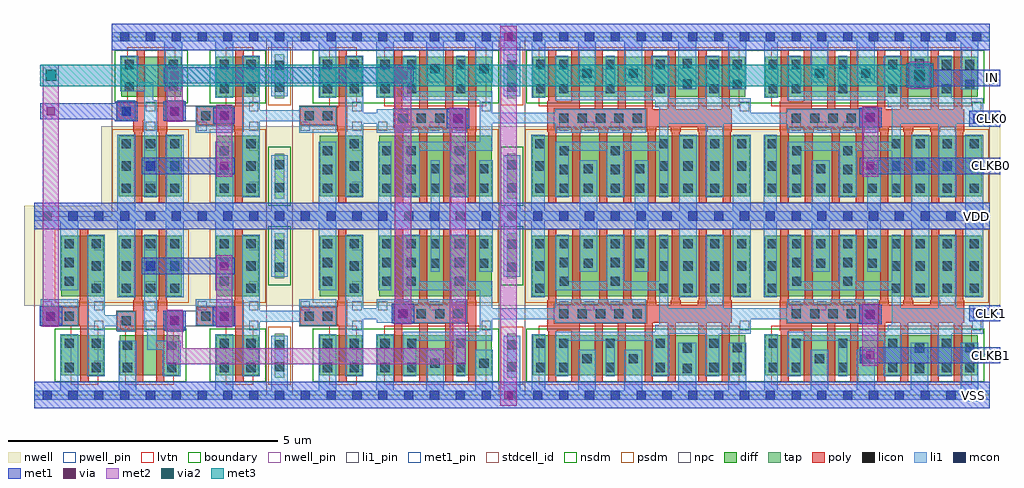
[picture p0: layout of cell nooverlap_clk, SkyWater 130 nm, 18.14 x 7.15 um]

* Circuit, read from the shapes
.subckt nooverlap_clk CLK0 CLK1 CLKB0 CLKB1 IN VDD VSS
XM1 sky130_fd_sc_hs__nand2_1_5/B IN VSS VSS sky130_fd_pr__nfet_01v8_lvt w=0.74 l=0.15
XM2 n1 sky130_fd_sc_hs__nand2_1_5/B VSS VSS sky130_fd_pr__nfet_01v8_lvt w=0.74 l=0.15
XM3 n2 IN sky130_fd_sc_hs__inv_1_0/A VSS sky130_fd_pr__nfet_01v8_lvt w=0.74 l=0.15
XM4 sky130_fd_sc_hs__inv_1_2/A sky130_fd_sc_hs__inv_4_8/A n1 VSS sky130_fd_pr__nfet_01v8_lvt w=0.74 l=0.15
XM5 VSS sky130_fd_sc_hs__inv_4_11/A n2 VSS sky130_fd_pr__nfet_01v8_lvt w=0.74 l=0.15
XM6 sky130_fd_sc_hs__inv_1_10/A sky130_fd_sc_hs__inv_1_2/A VSS VSS sky130_fd_pr__nfet_01v8_lvt w=0.74 l=0.15
XM7 sky130_fd_sc_hs__inv_1_7/A sky130_fd_sc_hs__inv_1_0/A VSS VSS sky130_fd_pr__nfet_01v8_lvt w=0.74 l=0.15
XM8 sky130_fd_sc_hs__inv_4_11/A sky130_fd_sc_hs__inv_1_10/A VSS VSS sky130_fd_pr__nfet_01v8_lvt w=0.74 l=0.15
XM9 sky130_fd_sc_hs__inv_4_8/A sky130_fd_sc_hs__inv_1_7/A VSS VSS sky130_fd_pr__nfet_01v8_lvt w=0.74 l=0.15
XM10 sky130_fd_sc_hs__inv_8_12/A sky130_fd_sc_hs__inv_4_11/A VSS VSS sky130_fd_pr__nfet_01v8_lvt w=0.74 l=0.15 m=4
XM11 sky130_fd_sc_hs__inv_8_9/A sky130_fd_sc_hs__inv_4_8/A VSS VSS sky130_fd_pr__nfet_01v8_lvt w=0.74 l=0.15 m=4
XM12 CLKB1 sky130_fd_sc_hs__inv_8_12/A VSS VSS sky130_fd_pr__nfet_01v8_lvt w=0.74 l=0.15 m=8
XM13 CLKB0 sky130_fd_sc_hs__inv_8_9/A VSS VSS sky130_fd_pr__nfet_01v8_lvt w=0.74 l=0.15 m=8
XM14 CLK1 CLKB1 VSS VSS sky130_fd_pr__nfet_01v8_lvt w=0.74 l=0.15 m=8
XM15 CLK0 CLKB0 VSS VSS sky130_fd_pr__nfet_01v8_lvt w=0.74 l=0.15 m=8
XM16 sky130_fd_sc_hs__nand2_1_5/B IN VDD VDD sky130_fd_pr__pfet_01v8 w=1.12 l=0.15
XM17 sky130_fd_sc_hs__inv_1_2/A sky130_fd_sc_hs__nand2_1_5/B VDD VDD sky130_fd_pr__pfet_01v8 w=1.12 l=0.15
XM18 sky130_fd_sc_hs__inv_1_0/A IN VDD VDD sky130_fd_pr__pfet_01v8 w=1.12 l=0.15
XM19 VDD sky130_fd_sc_hs__inv_4_8/A sky130_fd_sc_hs__inv_1_2/A VDD sky130_fd_pr__pfet_01v8 w=1.12 l=0.15
XM20 VDD sky130_fd_sc_hs__inv_4_11/A sky130_fd_sc_hs__inv_1_0/A VDD sky130_fd_pr__pfet_01v8 w=1.12 l=0.15
XM21 sky130_fd_sc_hs__inv_1_10/A sky130_fd_sc_hs__inv_1_2/A VDD VDD sky130_fd_pr__pfet_01v8 w=1.12 l=0.15
XM22 sky130_fd_sc_hs__inv_1_7/A sky130_fd_sc_hs__inv_1_0/A VDD VDD sky130_fd_pr__pfet_01v8 w=1.12 l=0.15
XM23 sky130_fd_sc_hs__inv_4_11/A sky130_fd_sc_hs__inv_1_10/A VDD VDD sky130_fd_pr__pfet_01v8 w=1.12 l=0.15
XM24 sky130_fd_sc_hs__inv_4_8/A sky130_fd_sc_hs__inv_1_7/A VDD VDD sky130_fd_pr__pfet_01v8 w=1.12 l=0.15
XM25 sky130_fd_sc_hs__inv_8_12/A sky130_fd_sc_hs__inv_4_11/A VDD VDD sky130_fd_pr__pfet_01v8 w=1.12 l=0.15 m=4
XM26 sky130_fd_sc_hs__inv_8_9/A sky130_fd_sc_hs__inv_4_8/A VDD VDD sky130_fd_pr__pfet_01v8 w=1.12 l=0.15 m=4
XM27 CLKB1 sky130_fd_sc_hs__inv_8_12/A VDD VDD sky130_fd_pr__pfet_01v8 w=1.12 l=0.15 m=8
XM28 CLKB0 sky130_fd_sc_hs__inv_8_9/A VDD VDD sky130_fd_pr__pfet_01v8 w=1.12 l=0.15 m=8
XM29 CLK1 CLKB1 VDD VDD sky130_fd_pr__pfet_01v8 w=1.12 l=0.15 m=8
XM30 CLK0 CLKB0 VDD VDD sky130_fd_pr__pfet_01v8 w=1.12 l=0.15 m=8
.ends

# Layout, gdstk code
from math import pi, radians
import gdstk
lib = gdstk.Library(unit=1e-6, precision=1e-09)
def R(c, l, rs):  # rectangles x0, y0, x1, y1
    for r in rs: c.add(gdstk.rectangle(r[:2], r[2:], *l))
def A(c, l, x, y, w, h, nx, ny, dx, dy):  # array of equal rectangles
    R(c, l, [(x+i*dx, y+j*dy, x+i*dx+w, y+j*dy+h) for i in range(nx) for j in range(ny)])
nwell_pin = (64, 16)
nwell = (64, 20)
diff = (65, 20)
tap = (65, 44)
poly = (66, 20)
licon = (66, 44)
li1_pin = (67, 16)
li1 = (67, 20)
mcon = (67, 44)
met1_pin = (68, 16)
met1 = (68, 20)
via = (68, 44)
met2 = (69, 20)
via2 = (69, 44)
met3 = (70, 20)
stdcell_id = (81, 4)
nsdm = (93, 44)
psdm = (94, 20)
npc = (95, 20)
pwell_pin = (122, 16)
lvtn = (125, 44)
boundary = (235, 4)

sky130_fd_sc_hs__inv_1 = lib.new_cell('sky130_fd_sc_hs__inv_1')
R(sky130_fd_sc_hs__inv_1, nwell_pin, [(0,3.085,1.44,3.33)])
R(sky130_fd_sc_hs__inv_1, nwell, [(-0.19,1.66,1.63,3.52)])
R(sky130_fd_sc_hs__inv_1, diff, [(0.505,0.37,1.295,1.11), (0.505,1.84,1.295,2.96)])
R(sky130_fd_sc_hs__inv_1, poly, [(0.86,0.24,1.01,1.3), (0.145,1.3,1.015,1.63), (0.835,1.63,1.015,1.765), (0.85,1.765,1,3.09)])
A(sky130_fd_sc_hs__inv_1, licon, 1.065, 1.9, 0.17, 0.17, 1, 3, 0, 0.415)
A(sky130_fd_sc_hs__inv_1, licon, 0.565, 2.03, 0.17, 0.17, 1, 3, 0, 0.35)
R(sky130_fd_sc_hs__inv_1, licon, [(0.565,0.43,0.735,0.6), (1.065,0.43,1.235,0.6), (0.565,0.88,0.735,1.05), (1.065,0.88,1.235,1.05), (0.225,1.38,0.395,1.55), (0.565,1.38,0.735,1.55)])
A(sky130_fd_sc_hs__inv_1, li1_pin, 1.115, 0.47, 0.17, 0.17, 1, 7, 0, 0.37)
R(sky130_fd_sc_hs__inv_1, li1_pin, [(0.155,1.58,0.325,1.75)])
R(sky130_fd_sc_hs__inv_1, li1, [(0,-0.085,1.44,0.085), (0.485,0.085,0.815,1.13), (0.985,0.35,1.315,2.98), (0.125,1.3,0.815,1.78), (0.485,1.95,0.815,3.245), (0,3.245,1.44,3.415)])
A(sky130_fd_sc_hs__inv_1, mcon, 0.155, -0.085, 0.17, 0.17, 3, 2, 0.48, 3.33)
R(sky130_fd_sc_hs__inv_1, met1_pin, [(0,0,1.44,0.245), (0,3.085,1.44,3.33)])
R(sky130_fd_sc_hs__inv_1, met1, [(0,-0.245,1.44,0.245), (0,3.085,1.44,3.575)])
R(sky130_fd_sc_hs__inv_1, stdcell_id, [(0,0,1.44,3.33)])
R(sky130_fd_sc_hs__inv_1, nsdm, [(0.38,0.245,1.42,1.235)])
R(sky130_fd_sc_hs__inv_1, psdm, [(0.38,1.715,1.42,3.085)])
R(sky130_fd_sc_hs__inv_1, npc, [(0.125,1.28,0.835,1.65)])
R(sky130_fd_sc_hs__inv_1, pwell_pin, [(0,0,1.44,0.245)])
R(sky130_fd_sc_hs__inv_1, lvtn, [(0.68,0.19,1.19,1.29)])
R(sky130_fd_sc_hs__inv_1, boundary, [(0,0,1.44,3.33)])
sky130_fd_sc_hs__inv_1.add(gdstk.Label('VNB', (0.72,0.122), layer=64, texttype=59))
sky130_fd_sc_hs__inv_1.add(gdstk.Label('VPB', (0.72,3.207), layer=64, texttype=5))
sky130_fd_sc_hs__inv_1.add(gdstk.Label('VPWR', (0.72,3.207), layer=68, texttype=5))
sky130_fd_sc_hs__inv_1.add(gdstk.Label('VGND', (0.72,0.122), layer=68, texttype=5))
sky130_fd_sc_hs__inv_1.add(gdstk.Label('Y', (1.2,2.775), layer=67, texttype=5))
sky130_fd_sc_hs__inv_1.add(gdstk.Label('Y', (1.2,2.405), layer=67, texttype=5))
sky130_fd_sc_hs__inv_1.add(gdstk.Label('Y', (1.2,2.035), layer=67, texttype=5))
sky130_fd_sc_hs__inv_1.add(gdstk.Label('Y', (1.2,1.665), layer=67, texttype=5))
sky130_fd_sc_hs__inv_1.add(gdstk.Label('Y', (1.2,1.295), layer=67, texttype=5))
sky130_fd_sc_hs__inv_1.add(gdstk.Label('Y', (1.2,0.925), layer=67, texttype=5))
sky130_fd_sc_hs__inv_1.add(gdstk.Label('Y', (1.2,0.555), layer=67, texttype=5))
sky130_fd_sc_hs__inv_1.add(gdstk.Label('A', (0.24,1.665), layer=67, texttype=5))

sky130_fd_sc_hs__tapvpwr = lib.new_cell('sky130_fd_sc_hs__tapvpwrvgnd_1')
R(sky130_fd_sc_hs__tapvpwr, nwell, [(-0.19,1.66,0.67,3.52)])
R(sky130_fd_sc_hs__tapvpwr, tap, [(0.155,0.32,0.325,1.145), (0.155,2.17,0.325,3.01)])
R(sky130_fd_sc_hs__tapvpwr, licon, [(0.155,0.44,0.325,0.61), (0.155,0.855,0.325,1.025), (0.155,2.29,0.325,2.46), (0.155,2.72,0.325,2.89)])
R(sky130_fd_sc_hs__tapvpwr, li1, [(0,-0.085,0.48,0.085), (0.09,0.085,0.39,1.105), (0.09,2.205,0.39,3.245), (0,3.245,0.48,3.415)])
R(sky130_fd_sc_hs__tapvpwr, mcon, [(0.155,-0.085,0.325,0.085), (0.155,3.245,0.325,3.415)])
R(sky130_fd_sc_hs__tapvpwr, met1_pin, [(0,0,0.48,0.245), (0,3.085,0.48,3.33)])
R(sky130_fd_sc_hs__tapvpwr, met1, [(0,-0.245,0.48,0.245), (0,3.085,0.48,3.575)])
R(sky130_fd_sc_hs__tapvpwr, nsdm, [(0.03,2.045,0.45,3.135)])
R(sky130_fd_sc_hs__tapvpwr, psdm, [(0.03,0.195,0.45,1.27)])
R(sky130_fd_sc_hs__tapvpwr, boundary, [(0,0,0.48,3.33)])
sky130_fd_sc_hs__tapvpwr.add(gdstk.Label('VPWR', (0.24,3.207), layer=68, texttype=5))
sky130_fd_sc_hs__tapvpwr.add(gdstk.Label('VGND', (0.24,0.122), layer=68, texttype=5))

sky130_fd_sc_hs__nand2_1 = lib.new_cell('sky130_fd_sc_hs__nand2_1')
R(sky130_fd_sc_hs__nand2_1, nwell_pin, [(0,3.085,1.44,3.33)])
R(sky130_fd_sc_hs__nand2_1, nwell, [(-0.19,1.66,1.63,3.52)])
R(sky130_fd_sc_hs__nand2_1, diff, [(0.15,0.37,1.26,1.11), (0.135,1.84,1.305,2.96)])
R(sky130_fd_sc_hs__nand2_1, poly, [(0.435,0.24,0.585,1.22), (0.825,0.24,0.975,1.22), (0.105,1.22,0.585,1.55), (0.825,1.22,1.335,1.55), (0.405,1.55,0.585,1.765), (0.855,1.55,1.035,1.765), (0.42,1.765,0.57,3.09), (0.87,1.765,1.02,3.09)])
A(sky130_fd_sc_hs__nand2_1, licon, 0.185, 1.9, 0.17, 0.17, 3, 3, 0.45, 0.415)
R(sky130_fd_sc_hs__nand2_1, licon, [(0.21,0.43,0.38,0.6), (1.03,0.43,1.2,0.6), (0.21,0.84,0.38,1.01), (1.03,0.84,1.2,1.01), (0.185,1.3,0.355,1.47), (1.085,1.3,1.255,1.47)])
A(sky130_fd_sc_hs__nand2_1, li1_pin, 0.155, 1.21, 0.17, 0.17, 3, 1, 0.48, 0)
A(sky130_fd_sc_hs__nand2_1, li1_pin, 0.635, 1.58, 0.17, 0.17, 1, 4, 0, 0.37)
R(sky130_fd_sc_hs__nand2_1, li1, [(0,-0.085,1.44,0.085), (0.13,0.085,0.46,1.01), (0.95,0.35,1.28,0.84), (0.665,0.84,1.28,1.01), (0.665,1.01,0.835,1.18), (0.105,1.18,0.435,1.55), (0.605,1.18,0.835,2.98), (1.005,1.18,1.335,1.55), (0.105,1.82,0.435,3.245), (1.005,1.82,1.335,3.245), (0,3.245,1.44,3.415)])
A(sky130_fd_sc_hs__nand2_1, mcon, 0.155, -0.085, 0.17, 0.17, 3, 2, 0.48, 3.33)
R(sky130_fd_sc_hs__nand2_1, met1_pin, [(0,0,1.44,0.245), (0,3.085,1.44,3.33)])
R(sky130_fd_sc_hs__nand2_1, met1, [(0,-0.245,1.44,0.245), (0,3.085,1.44,3.575)])
R(sky130_fd_sc_hs__nand2_1, stdcell_id, [(0,0,1.44,3.33)])
R(sky130_fd_sc_hs__nand2_1, nsdm, [(0.025,0.245,1.385,1.235)])
R(sky130_fd_sc_hs__nand2_1, psdm, [(0.01,1.715,1.43,3.085)])
R(sky130_fd_sc_hs__nand2_1, npc, [(0.085,1.2,0.455,1.57), (0.985,1.2,1.355,1.57)])
R(sky130_fd_sc_hs__nand2_1, pwell_pin, [(0,0,1.44,0.245)])
R(sky130_fd_sc_hs__nand2_1, lvtn, [(0.255,0.19,1.155,1.29)])
R(sky130_fd_sc_hs__nand2_1, boundary, [(0,0,1.44,3.33)])
sky130_fd_sc_hs__nand2_1.add(gdstk.Label('VNB', (0.72,0.122), layer=64, texttype=59))
sky130_fd_sc_hs__nand2_1.add(gdstk.Label('VPB', (0.72,3.207), layer=64, texttype=5))
sky130_fd_sc_hs__nand2_1.add(gdstk.Label('VPWR', (0.72,3.207), layer=68, texttype=5))
sky130_fd_sc_hs__nand2_1.add(gdstk.Label('VGND', (0.72,0.122), layer=68, texttype=5))
sky130_fd_sc_hs__nand2_1.add(gdstk.Label('B', (0.24,1.295), layer=67, texttype=5))
sky130_fd_sc_hs__nand2_1.add(gdstk.Label('Y', (0.72,2.775), layer=67, texttype=5))
sky130_fd_sc_hs__nand2_1.add(gdstk.Label('Y', (0.72,2.405), layer=67, texttype=5))
sky130_fd_sc_hs__nand2_1.add(gdstk.Label('Y', (0.72,2.035), layer=67, texttype=5))
sky130_fd_sc_hs__nand2_1.add(gdstk.Label('Y', (0.72,1.665), layer=67, texttype=5))
sky130_fd_sc_hs__nand2_1.add(gdstk.Label('Y', (0.72,1.295), layer=67, texttype=5))
sky130_fd_sc_hs__nand2_1.add(gdstk.Label('A', (1.2,1.295), layer=67, texttype=5))

sky130_fd_sc_hs__inv_4 = lib.new_cell('sky130_fd_sc_hs__inv_4')
R(sky130_fd_sc_hs__inv_4, nwell_pin, [(0,3.085,2.4,3.33)])
R(sky130_fd_sc_hs__inv_4, nwell, [(-0.19,1.66,2.59,3.52)])
R(sky130_fd_sc_hs__inv_4, diff, [(0.135,0.37,2.265,1.11), (0.17,1.84,2.26,2.96)])
A(sky130_fd_sc_hs__inv_4, poly, 0.45, 1.68, 0.18, 0.085, 4, 1, 0.45, 0)
A(sky130_fd_sc_hs__inv_4, poly, 0.465, 1.765, 0.15, 1.325, 4, 1, 0.45, 0)
R(sky130_fd_sc_hs__inv_4, poly, [(0.45,0.24,0.6,1.35), (0.92,0.24,1.07,1.35), (1.4,0.24,1.55,1.35), (1.83,0.24,1.98,1.35), (0.45,1.35,1.98,1.68)])
A(sky130_fd_sc_hs__inv_4, licon, 0.53, 1.43, 0.17, 0.17, 4, 1, 0.34, 0)
A(sky130_fd_sc_hs__inv_4, licon, 0.23, 2.73, 0.17, 0.17, 5, 1, 0.45, 0)
R(sky130_fd_sc_hs__inv_4, licon, [(0.195,0.43,0.365,0.6), (0.695,0.43,0.865,0.6), (1.605,0.43,1.775,0.6), (1.125,0.51,1.295,0.68), (2.035,0.51,2.205,0.68), (0.195,0.88,0.365,1.05), (0.695,0.88,0.865,1.05), (1.605,0.88,1.775,1.05), (0.23,2.03,0.4,2.2), (0.68,2.03,0.85,2.2), (1.58,2.03,1.75,2.2), (1.13,2.37,1.3,2.54), (2.03,2.37,2.2,2.54), (0.23,2.38,0.4,2.55), (0.68,2.38,0.85,2.55), (1.58,2.38,1.75,2.55)])
A(sky130_fd_sc_hs__inv_4, li1_pin, 0.155, 1.58, 0.17, 0.17, 4, 1, 0.48, 0)
R(sky130_fd_sc_hs__inv_4, li1_pin, [(2.075,1.21,2.245,1.38)])
R(sky130_fd_sc_hs__inv_4, li1, [(0,-0.085,2.4,0.085), (0.115,0.085,0.445,1.13), (1.045,0.085,1.375,0.84), (1.955,0.085,2.285,0.84), (0.615,0.35,0.865,1.01), (1.605,0.35,1.775,1.01), (0.615,1.01,2.275,1.18), (2.045,1.18,2.275,1.95), (0.125,1.35,1.8,1.78), (0.15,1.95,0.4,3.245), (0.6,1.95,2.275,2.12), (0.6,2.12,0.93,2.98), (1.5,2.12,1.83,2.98), (1.13,2.29,1.3,3.245), (2.03,2.29,2.28,3.245), (0,3.245,2.4,3.415)])
A(sky130_fd_sc_hs__inv_4, mcon, 0.155, -0.085, 0.17, 0.17, 5, 2, 0.48, 3.33)
R(sky130_fd_sc_hs__inv_4, met1_pin, [(0,0,2.4,0.245), (0,3.085,2.4,3.33)])
R(sky130_fd_sc_hs__inv_4, met1, [(0,-0.245,2.4,0.245), (0,3.085,2.4,3.575)])
R(sky130_fd_sc_hs__inv_4, stdcell_id, [(0,0,2.4,3.33)])
R(sky130_fd_sc_hs__inv_4, nsdm, [(0.01,0.245,2.39,1.235)])
R(sky130_fd_sc_hs__inv_4, psdm, [(0.045,1.715,2.385,3.085)])
R(sky130_fd_sc_hs__inv_4, npc, [(0.43,1.33,1.82,1.7)])
R(sky130_fd_sc_hs__inv_4, pwell_pin, [(0,0,2.4,0.245)])
R(sky130_fd_sc_hs__inv_4, lvtn, [(0.27,0.19,2.16,1.29)])
R(sky130_fd_sc_hs__inv_4, boundary, [(0,0,2.4,3.33)])
sky130_fd_sc_hs__inv_4.add(gdstk.Label('VNB', (1.2,0.122), layer=64, texttype=59))
sky130_fd_sc_hs__inv_4.add(gdstk.Label('VPB', (1.2,3.207), layer=64, texttype=5))
sky130_fd_sc_hs__inv_4.add(gdstk.Label('VPWR', (1.2,3.207), layer=68, texttype=5))
sky130_fd_sc_hs__inv_4.add(gdstk.Label('VGND', (1.2,0.122), layer=68, texttype=5))
sky130_fd_sc_hs__inv_4.add(gdstk.Label('Y', (2.16,1.295), layer=67, texttype=5))
sky130_fd_sc_hs__inv_4.add(gdstk.Label('A', (1.68,1.665), layer=67, texttype=5))
sky130_fd_sc_hs__inv_4.add(gdstk.Label('A', (1.2,1.665), layer=67, texttype=5))
sky130_fd_sc_hs__inv_4.add(gdstk.Label('A', (0.72,1.665), layer=67, texttype=5))
sky130_fd_sc_hs__inv_4.add(gdstk.Label('A', (0.24,1.665), layer=67, texttype=5))

sky130_fd_sc_hs__inv_8 = lib.new_cell('sky130_fd_sc_hs__inv_8')
R(sky130_fd_sc_hs__inv_8, nwell_pin, [(0,3.085,4.32,3.33)])
R(sky130_fd_sc_hs__inv_8, nwell, [(-0.19,1.66,4.51,3.52)])
R(sky130_fd_sc_hs__inv_8, diff, [(0.15,0.37,4.095,1.11), (0.135,1.84,4.175,2.96)])
A(sky130_fd_sc_hs__inv_8, poly, 1.365, 1.68, 0.18, 0.085, 4, 1, 0.45, 0)
A(sky130_fd_sc_hs__inv_8, poly, 1.38, 1.765, 0.15, 1.325, 4, 1, 0.45, 0)
R(sky130_fd_sc_hs__inv_8, poly, [(0.435,0.24,0.585,1.2), (0.865,0.24,1.015,1.2), (1.295,0.24,1.445,1.35), (1.725,0.24,1.875,1.35), (2.225,0.24,2.375,1.35), (2.655,0.24,2.805,1.35), (3.225,0.24,3.375,1.35), (3.655,0.24,3.805,1.35), (0.415,1.2,1.015,1.35), (0.415,1.35,3.845,1.68), (0.415,1.68,0.595,1.765), (0.865,1.68,1.045,1.765), (3.215,1.68,3.395,1.765), (3.665,1.68,3.845,1.765), (0.43,1.765,0.58,3.09), (0.88,1.765,1.03,3.09), (3.23,1.765,3.38,3.09), (3.68,1.765,3.83,3.09)])
A(sky130_fd_sc_hs__inv_8, licon, 0.64, 1.43, 0.17, 0.17, 5, 1, 0.34, 0)
A(sky130_fd_sc_hs__inv_8, licon, 2.945, 1.9, 0.17, 0.17, 3, 2, 0.5, 0.415)
A(sky130_fd_sc_hs__inv_8, licon, 0.195, 2.73, 0.17, 0.17, 3, 1, 0.45, 0)
A(sky130_fd_sc_hs__inv_8, licon, 1.595, 2.73, 0.17, 0.17, 4, 1, 0.45, 0)
R(sky130_fd_sc_hs__inv_8, licon, [(2.93,0.41,3.1,0.58), (0.21,0.43,0.38,0.6), (0.64,0.43,0.81,0.6), (1.5,0.43,1.67,0.6), (2.43,0.43,2.6,0.6), (3.43,0.43,3.6,0.6), (3.86,0.43,4.03,0.6), (1.07,0.59,1.24,0.76), (1.93,0.59,2.1,0.76), (2.93,0.79,3.1,0.96), (3.86,0.8,4.03,0.97), (0.21,0.88,0.38,1.05), (0.64,0.88,0.81,1.05), (1.5,0.88,1.67,1.05), (2.43,0.88,2.6,1.05), (3.43,0.88,3.6,1.05), (0.195,1.9,0.365,2.07), (2.495,1.9,2.665,2.07), (0.645,2.03,0.815,2.2), (1.595,2.03,1.765,2.2), (0.195,2.315,0.365,2.485), (2.495,2.315,2.665,2.485), (1.095,2.37,1.265,2.54), (2.045,2.37,2.215,2.54), (0.645,2.38,0.815,2.55), (1.595,2.38,1.765,2.55), (3.445,2.73,3.615,2.9), (3.945,2.73,4.115,2.9)])
A(sky130_fd_sc_hs__inv_8, li1_pin, 0.635, 1.58, 0.17, 0.17, 3, 1, 0.48, 0)
R(sky130_fd_sc_hs__inv_8, li1_pin, [(3.995,1.21,4.165,1.38)])
R(sky130_fd_sc_hs__inv_8, li1, [(0,-0.085,4.32,0.085), (0.13,0.085,0.38,1.13), (0.99,0.085,1.32,0.84), (1.85,0.085,2.18,0.84), (2.85,0.085,3.18,0.97), (3.78,0.085,4.11,0.97), (0.56,0.35,0.81,1.01), (1.5,0.35,1.67,1.01), (2.35,0.35,2.68,1.01), (3.35,0.35,3.61,1.14), (0.56,1.01,2.68,1.14), (0.56,1.14,4.195,1.18), (2.42,1.18,4.195,1.31), (2.495,1.31,4.195,1.62), (0.56,1.35,2.25,1.78), (2.495,1.62,2.665,1.95), (3.365,1.62,3.695,2.98), (0.115,1.82,0.365,3.245), (2.865,1.82,3.195,3.245), (3.865,1.82,4.195,3.245), (0.565,1.95,2.665,2.12), (0.565,2.12,0.815,2.98), (1.515,2.12,1.845,2.98), (2.495,2.12,2.665,2.98), (1.015,2.29,1.345,3.245), (2.045,2.29,2.295,3.245), (0,3.245,4.32,3.415)])
A(sky130_fd_sc_hs__inv_8, mcon, 0.155, -0.085, 0.17, 0.17, 9, 2, 0.48, 3.33)
R(sky130_fd_sc_hs__inv_8, met1_pin, [(0,0,4.32,0.245), (0,3.085,4.32,3.33)])
R(sky130_fd_sc_hs__inv_8, met1, [(0,-0.245,4.32,0.245), (0,3.085,4.32,3.575)])
R(sky130_fd_sc_hs__inv_8, stdcell_id, [(0,0,4.32,3.33)])
R(sky130_fd_sc_hs__inv_8, nsdm, [(0.025,0.245,4.22,1.235)])
R(sky130_fd_sc_hs__inv_8, psdm, [(0.01,1.715,4.3,3.085)])
R(sky130_fd_sc_hs__inv_8, npc, [(0.54,1.33,2.27,1.7)])
R(sky130_fd_sc_hs__inv_8, pwell_pin, [(0,0,4.32,0.245)])
R(sky130_fd_sc_hs__inv_8, lvtn, [(0.255,0.19,3.985,1.29)])
R(sky130_fd_sc_hs__inv_8, boundary, [(0,0,4.32,3.33)])
sky130_fd_sc_hs__inv_8.add(gdstk.Label('VNB', (2.16,0.122), layer=64, texttype=59))
sky130_fd_sc_hs__inv_8.add(gdstk.Label('VPB', (2.16,3.207), layer=64, texttype=5))
sky130_fd_sc_hs__inv_8.add(gdstk.Label('VPWR', (2.16,3.207), layer=68, texttype=5))
sky130_fd_sc_hs__inv_8.add(gdstk.Label('VGND', (2.16,0.122), layer=68, texttype=5))
sky130_fd_sc_hs__inv_8.add(gdstk.Label('A', (1.68,1.665), layer=67, texttype=5))
sky130_fd_sc_hs__inv_8.add(gdstk.Label('A', (1.2,1.665), layer=67, texttype=5))
sky130_fd_sc_hs__inv_8.add(gdstk.Label('A', (0.72,1.665), layer=67, texttype=5))
sky130_fd_sc_hs__inv_8.add(gdstk.Label('Y', (4.08,1.295), layer=67, texttype=5))

nooverlap_clk = lib.new_cell('nooverlap_clk')
R(nooverlap_clk, li1, [(-0.855,-22.39,-0.555,-22.09), (-2.175,-22.345,-1.505,-22.145), (0.065,-22.315,0.365,-22.015), (-3.155,-22.31,-2.855,-22.01), (12.075,-22.28,12.375,-21.98), (0.63,-22.265,1.895,-22.065), (3.39,-22.265,3.69,-21.965), (2.66,-22.215,3.14,-22.015), (5.045,-22.215,6.63,-22.015), (9.86,-22.215,10.95,-22.015), (14.12,-22.21,14.32,-22.01), (-1.255,-21.33,-1.055,-21.13), (-1.255,-19.47,-1.055,-19.27), (4.41,-18.64,4.71,-18.34), (12.075,-18.62,12.375,-18.32), (14.12,-18.59,14.32,-18.39), (2.68,-18.585,3.285,-18.385), (9.88,-18.585,10.95,-18.385), (5.045,-18.58,6.63,-18.38), (0.115,-18.535,0.315,-18.335), (0.755,-18.535,1.895,-18.335), (-1.755,-18.505,-1.455,-18.205), (-0.855,-18.5,-0.555,-18.2)])
R(nooverlap_clk, mcon, [(-0.79,-22.325,-0.62,-22.155), (0.13,-22.25,0.3,-22.08), (-3.09,-22.245,-2.92,-22.075), (12.14,-22.215,12.31,-22.045), (3.455,-22.2,3.625,-22.03), (14.135,-22.195,14.305,-22.025), (-1.24,-21.315,-1.07,-21.145), (-1.24,-19.455,-1.07,-19.285), (4.475,-18.575,4.645,-18.405), (14.135,-18.575,14.305,-18.405), (12.14,-18.555,12.31,-18.385), (0.13,-18.52,0.3,-18.35), (-1.69,-18.44,-1.52,-18.27), (-0.79,-18.435,-0.62,-18.265)])
R(nooverlap_clk, met1_pin, [(14.035,-23.74,14.235,-23.54), (14.385,-22.985,14.585,-22.785), (14.38,-22.215,14.58,-22.015), (14.1,-20.41,14.3,-20.21), (14.38,-19.47,14.58,-19.27), (14.39,-18.585,14.59,-18.385), (14.39,-17.835,14.59,-17.635)])
R(nooverlap_clk, met1, [(13.915,-23.82,14.325,-23.45), (5.3,-23.78,5.7,-23.48), (12.025,-23.035,14.635,-22.735), (-0.915,-22.42,-0.495,-22.06), (0.005,-22.345,0.425,-21.985), (-3.215,-22.34,-2.795,-21.98), (12.015,-22.31,12.435,-21.95), (3.33,-22.295,3.75,-21.935), (14.06,-22.26,14.635,-21.96), (-1.315,-21.38,0.415,-21.08), (13.955,-20.5,14.365,-20.13), (-1.315,-19.52,0.415,-19.22), (12.025,-19.52,14.635,-19.22), (4.35,-18.67,4.77,-18.31), (12.015,-18.65,12.435,-18.29), (14.06,-18.64,14.635,-18.34), (0.015,-18.585,0.415,-18.285), (-1.815,-18.535,-1.395,-18.505), (-0.915,-18.53,-0.495,-18.17), (-3.205,-18.505,-1.395,-18.205), (-1.815,-18.205,-1.395,-18.175), (12.89,-17.885,14.635,-17.585), (-0.905,-17.835,3.74,-17.535), (12.89,-17.585,13.39,-17.485), (5.3,-17.115,5.7,-16.815)])
R(nooverlap_clk, via, [(5.425,-23.705,5.575,-23.555), (12.15,-22.96,12.3,-22.81), (-0.78,-22.315,-0.63,-22.165), (0.14,-22.24,0.29,-22.09), (-3.08,-22.235,-2.93,-22.085), (12.15,-22.205,12.3,-22.055), (3.465,-22.19,3.615,-22.04), (0.14,-21.305,0.29,-21.155), (0.14,-19.445,0.29,-19.295), (12.15,-19.445,12.3,-19.295), (4.485,-18.565,4.635,-18.415), (12.15,-18.545,12.3,-18.395), (0.14,-18.51,0.29,-18.36), (-3.08,-18.43,-2.93,-18.28), (-0.78,-18.425,-0.63,-18.275), (-0.78,-17.76,-0.63,-17.61), (3.465,-17.76,3.615,-17.61), (13.065,-17.76,13.215,-17.61), (5.425,-17.04,5.575,-16.89)])
R(nooverlap_clk, met2, [(5.35,-23.83,5.65,-16.765), (12.075,-23.085,12.375,-21.93), (-0.855,-23.055,4.71,-22.755), (-0.855,-22.755,-0.555,-22.04), (4.41,-22.755,4.71,-18.29), (0.065,-22.365,0.365,-21.03), (-3.155,-22.36,-2.855,-17.485), (3.39,-22.315,3.69,-17.485), (0.065,-19.57,0.365,-18.235), (12.075,-19.57,12.375,-18.27), (-0.855,-18.55,-0.555,-17.485), (12.94,-17.935,13.34,-17.435)])
R(nooverlap_clk, via2, [(-3.105,-17.785,-2.905,-17.585), (13.04,-17.785,13.24,-17.585)])
R(nooverlap_clk, met3, [(12.89,-17.91,13.39,-17.885), (-3.205,-17.885,13.39,-17.485), (12.89,-17.485,13.39,-17.46)])
R(nooverlap_clk, nsdm, [(-1.895,-23.385,-1.85,-22.395), (2.905,-23.385,2.935,-22.395), (10.025,-23.385,10.15,-22.395), (2.905,-18.205,2.935,-17.215), (10.025,-18.205,10.15,-17.215)])
R(nooverlap_clk, psdm, [(-1.895,-21.915,-1.865,-20.545), (2.905,-21.915,2.97,-20.545), (10.105,-21.915,10.135,-20.545), (2.905,-20.055,2.97,-18.685), (10.105,-20.055,10.135,-18.685)])
R(nooverlap_clk, npc, [(-0.52,-22.35,-0.31,-22.06), (-0.52,-18.54,-0.31,-18.25)])
nooverlap_clk.add(gdstk.Reference(sky130_fd_sc_hs__inv_1, (-0.435,-16.97), x_reflection=True))
nooverlap_clk.add(gdstk.Reference(sky130_fd_sc_hs__inv_1, (-3.315,-23.63)))
nooverlap_clk.add(gdstk.Reference(sky130_fd_sc_hs__inv_1, (-0.435,-23.63)))
nooverlap_clk.add(gdstk.Reference(sky130_fd_sc_hs__tapvpwr, (1.005,-16.97), x_reflection=True))
nooverlap_clk.add(gdstk.Reference(sky130_fd_sc_hs__tapvpwr, (1.005,-23.63)))
nooverlap_clk.add(gdstk.Reference(sky130_fd_sc_hs__nand2_1, (-1.875,-23.63)))
nooverlap_clk.add(gdstk.Reference(sky130_fd_sc_hs__nand2_1, (-0.435,-16.97), rotation=pi))
nooverlap_clk.add(gdstk.Reference(sky130_fd_sc_hs__inv_1, (1.485,-16.97), x_reflection=True))
nooverlap_clk.add(gdstk.Reference(sky130_fd_sc_hs__inv_4, (2.925,-16.97), x_reflection=True))
nooverlap_clk.add(gdstk.Reference(sky130_fd_sc_hs__inv_8, (5.805,-16.97), x_reflection=True))
nooverlap_clk.add(gdstk.Reference(sky130_fd_sc_hs__inv_1, (1.485,-23.63)))
nooverlap_clk.add(gdstk.Reference(sky130_fd_sc_hs__inv_4, (2.925,-23.63)))
nooverlap_clk.add(gdstk.Reference(sky130_fd_sc_hs__inv_8, (5.805,-23.63)))
nooverlap_clk.add(gdstk.Reference(sky130_fd_sc_hs__tapvpwr, (5.325,-16.97), x_reflection=True))
nooverlap_clk.add(gdstk.Reference(sky130_fd_sc_hs__tapvpwr, (5.325,-23.63)))
nooverlap_clk.add(gdstk.Reference(sky130_fd_sc_hs__inv_8, (10.125,-16.97), x_reflection=True))
nooverlap_clk.add(gdstk.Reference(sky130_fd_sc_hs__inv_8, (10.125,-23.63)))
nooverlap_clk.add(gdstk.Label('IN', (14.49,-17.735), layer=68, texttype=5))
nooverlap_clk.add(gdstk.Label('CLK0', (14.49,-18.485), layer=68, texttype=5))
nooverlap_clk.add(gdstk.Label('CLKB0', (14.48,-19.37), layer=68, texttype=5))
nooverlap_clk.add(gdstk.Label('CLK1', (14.48,-22.115), layer=68, texttype=5))
nooverlap_clk.add(gdstk.Label('CLKB1', (14.485,-22.885), layer=68, texttype=5))
nooverlap_clk.add(gdstk.Label('VDD', (14.2,-20.31), layer=68, texttype=5))
nooverlap_clk.add(gdstk.Label('VSS', (14.135,-23.64), layer=68, texttype=5))

lib.write_gds('nooverlap_clk.gds')
